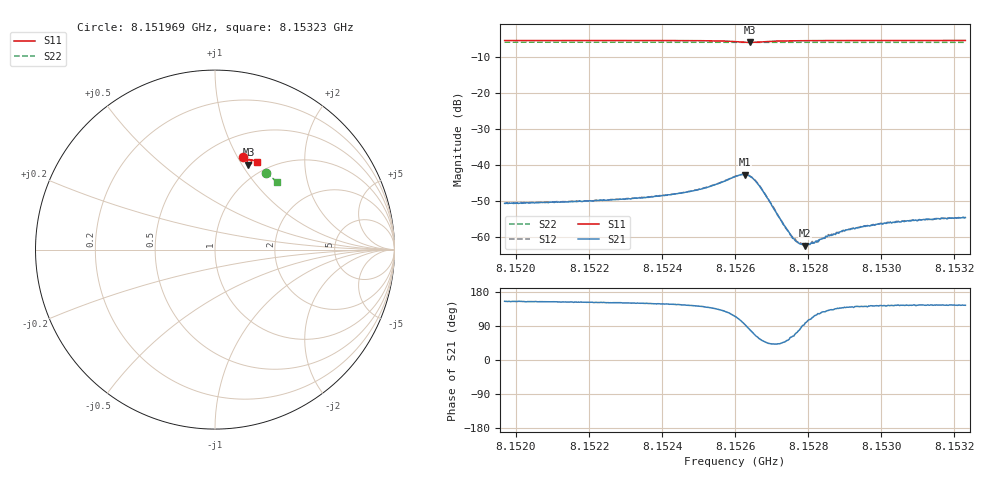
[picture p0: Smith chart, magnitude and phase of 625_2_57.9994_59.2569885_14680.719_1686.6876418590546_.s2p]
#  HZ  S  RI  R  50.00
! Rohde & Schwarz Vector Network Analyzer
! Rohde-Schwarz,ZNB20-2Port,1311601062101988,3.16
! Created: UTC 3/21/2024, 1:18:18 AM
! freq[Hz]  re:S11  im:S11  re:S21  im:S21  re:S12  im:S12  re:S22  im:S22
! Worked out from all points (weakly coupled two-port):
!   401 points, 8.151969 GHz to 8.15323 GHz, reference 50 ohm
!   highest |S21| = -42.65 dB at 8.152628 GHz (marker M1); lowest = -62.5 dB at 8.152792 GHz (marker M2)
!   lowest |S11| = -5.9 dB at 8.152641 GHz (marker M3), VSWR 3.07, Z = 41.8 + j53.5 ohm
!   |S11| at or under -10 dB: nowhere
!   |S22| runs from -5.9 to -5.8 dB; largest |S21 - S12| = 0.00016
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8.1519689e9  0.1553 0.5175  -0.00265 0.00124  -0.00266 0.00127  0.2846 0.4256
8.1521802e9  0.1704 0.513  -0.00275 0.00142  -0.00278 0.00149  0.2955 0.4178
8.1523914e9  0.1867 0.507  -0.00315 0.00194  -0.00313 0.00199  0.3065 0.4095
8.152445e9  0.1914 0.5047  -0.00336 0.00223  -0.00331 0.00231  0.3092 0.4074
8.1525018e9  0.197 0.5007  -0.00361 0.00284  -0.00357 0.00291  0.312 0.4051
8.1525459e9  0.2018 0.4955  -0.00381 0.00375  -0.00378 0.00383  0.3142 0.403
8.1525995e9  0.2036 0.4816  -0.00296 0.00623  -0.00291 0.0063  0.3164 0.4004
8.1526279e9  0.1938 0.4731  -0.000292 0.00736  -0.000241 0.00741  0.3174 0.3992
8.1526405e9  0.1866 0.4735  0.00125 0.00681  0.00139 0.00689  0.3178 0.3989
8.1526531e9  0.1805 0.4778  0.0024 0.00567  0.0025 0.00573  0.3183 0.3984
8.152672e9  0.1778 0.4867  0.00284 0.00369  0.0029 0.00369  0.3192 0.3984
8.1527319e9  0.188 0.4995  0.00102 0.00108  0.00107 0.00107  0.3226 0.3961
8.1527572e9  0.1922 0.5006  0.000435 0.000846  0.000487 0.000866  0.3239 0.3952
8.1527761e9  0.195 0.5008  0.000145 0.000791  0.000132 0.000776  0.3249 0.3945
8.1527918e9  0.197 0.5009  -0.000102 0.000746  -7.76e-05 0.000808  0.3256 0.3937
8.1528108e9  0.1991 0.5007  -0.000305 0.000753  -0.000284 0.000816  0.3266 0.3929
8.1528612e9  0.2044 0.4997  -0.000711 0.000773  -0.000684 0.000814  0.329 0.3907
8.152899e9  0.2078 0.4988  -0.000915 0.000792  -0.000893 0.000825  0.3309 0.3893
8.1529589e9  0.2128 0.4974  -0.00111 0.000878  -0.00111 0.000903  0.3339 0.3866
8.153022e9  0.2177 0.4957  -0.00126 0.000937  -0.00128 0.000942  0.337 0.3839
8.1531103e9  0.224 0.4932  -0.00142 0.000977  -0.00141 0.000999  0.3408 0.38
8.1532301e9  0.2322 0.4898  -0.00151 0.00108  -0.00149 0.00111  0.3464 0.3748
